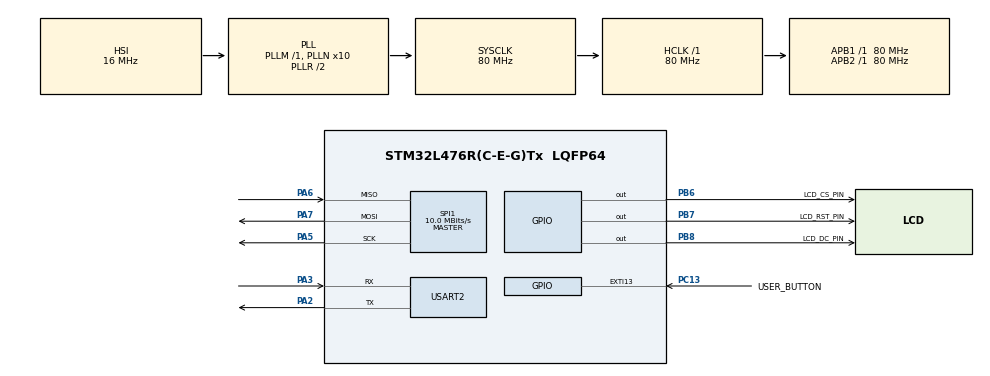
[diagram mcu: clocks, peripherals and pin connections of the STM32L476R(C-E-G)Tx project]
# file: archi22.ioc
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Dma.Request0=SPI1_RX
Dma.SPI1_RX.0.Direction=DMA_PERIPH_TO_MEMORY
Dma.SPI1_RX.0.Instance=DMA1_Channel2
Dma.SPI1_RX.0.MemDataAlignment=DMA_MDATAALIGN_BYTE
Dma.SPI1_RX.0.MemInc=DMA_MINC_ENABLE
Dma.SPI1_RX.0.Mode=DMA_NORMAL
Dma.SPI1_RX.0.PeriphDataAlignment=DMA_PDATAALIGN_BYTE
Dma.SPI1_RX.0.PeriphInc=DMA_PINC_DISABLE
Dma.SPI1_RX.0.Priority=DMA_PRIORITY_LOW
Mcu.Family=STM32L4
Mcu.Name=STM32L476R(C-E-G)Tx
Mcu.Package=LQFP64
NVIC.DMA1_Channel2_IRQn=true\:0\:0\:false\:false\:true\:false\:true\:true
NVIC.EXTI15_10_IRQn=true\:0\:0\:false\:false\:true\:true\:true\:true
NVIC.PriorityGroup=NVIC_PRIORITYGROUP_4
NVIC.USART2_IRQn=true\:0\:0\:false\:false\:true\:true\:true\:true
PA2.Mode=Asynchronous
PA2.Signal=USART2_TX
PA3.Mode=Asynchronous
PA3.Signal=USART2_RX
PA5.Mode=Full_Duplex_Master
PA5.Signal=SPI1_SCK
PA6.Mode=Full_Duplex_Master
PA6.Signal=SPI1_MISO
PA7.Mode=Full_Duplex_Master
PA7.Signal=SPI1_MOSI
PB6.GPIO_Label=LCD_CS_PIN
PB6.Signal=GPIO_Output
PB7.GPIO_Label=LCD_RST_PIN
PB7.Signal=GPIO_Output
PB8.GPIO_Label=LCD_DC_PIN
PB8.Signal=GPIO_Output
PC13.GPIO_Label=USER_BUTTON
PC13.GPIO_ModeDefaultEXTI=GPIO_MODE_IT_FALLING
PC13.Signal=GPXTI13
ProjectManager.HeapSize=0x200
ProjectManager.StackSize=0x400
ProjectManager.TargetToolchain=STM32CubeIDE
RCC.ADCFreq_Value=64000000
RCC.AHBFreq_Value=80000000
RCC.APB1Freq_Value=80000000
RCC.APB1TimFreq_Value=80000000
RCC.APB2Freq_Value=80000000
RCC.APB2TimFreq_Value=80000000
RCC.CortexFreq_Value=80000000
RCC.HCLKFreq_Value=80000000
RCC.HSE_VALUE=8000000
RCC.HSI_VALUE=16000000
RCC.MSI_VALUE=4000000
RCC.PLLN=10
RCC.PLLSourceVirtual=RCC_PLLSOURCE_HSI
RCC.PREFETCH_ENABLE=1
RCC.SYSCLKFreq_VALUE=80000000
RCC.SYSCLKSource=RCC_SYSCLKSOURCE_PLLCLK
RCC.USBFreq_Value=64000000
RCC.VCOOutputFreq_Value=160000000
SPI1.BaudRatePrescaler=SPI_BAUDRATEPRESCALER_8
SPI1.CalculateBaudRate=10.0 MBits/s
SPI1.DataSize=SPI_DATASIZE_8BIT
SPI1.Direction=SPI_DIRECTION_2LINES
SPI1.Mode=SPI_MODE_MASTER
SPI1.VirtualType=VM_MASTER
USART2.VirtualMode-Asynchronous=VM_ASYNC
board=NUCLEO-L476RG

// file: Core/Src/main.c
/* USER CODE BEGIN Header */
/**
  ******************************************************************************
  * @file           : main.c
  * @brief          : Main program body
  ******************************************************************************
  * @attention
  *
  * Copyright (c) 2024 STMicroelectronics.
  * All rights reserved.
  *
  * This software is licensed under terms that can be found in the LICENSE file
  * in the root directory of this software component.
  * If no LICENSE file comes with this software, it is provided AS-IS.
  ******************************************************************************
  */
/* USER CODE END Header */
#include "main.h"
#include "dma.h"
#include "spi.h"
#include "usart.h"
#include "gpio.h"

/* USER CODE BEGIN Includes */
#include "st7735.h"
#include "fonts.h"
#include "game.h"
#include "menu.h"
#include "high_scores.h"
/* USER CODE END Includes */

/* USER CODE BEGIN PD */
#define YMAX 5000
#define YMIN 0
/* USER CODE END PD */

void SystemClock_Config(void);

int main(void)
{

  /* MCU Configuration--------------------------------------------------------*/

  /* Reset of all peripherals, Initializes the Flash interface and the Systick. */
  HAL_Init();

  /* Configure the system clock */
  SystemClock_Config();

  /* Initialize all configured peripherals */
  MX_GPIO_Init();
  MX_DMA_Init();
  MX_SPI1_Init();
  MX_USART2_UART_Init();
  /* USER CODE BEGIN 2 */

  ST7735_Init();

  // RESET SCORES
//  uint64_t writeData[10] = {0, 0, 0, 0, 0, 0, 0, 0, 0, 0};
//  Flash_WriteArray(FLASH_USER_START_ADDR, writeData, 10);
  // END RESET SCORES

  int status = 0;
  while(1)
  {
	  if (status == 0)
	  {
		  status = menu();
	  }
	  else if (status == 1)
	  {
		  status = game();
	  }
	  else if (status == 2)
	  {
		  status = high_scores();
	  }
  }
  /* USER CODE END 2 */

}

void SystemClock_Config(void)
{
  RCC_OscInitTypeDef RCC_OscInitStruct = {0};
  RCC_ClkInitTypeDef RCC_ClkInitStruct = {0};

  /** Configure the main internal regulator output voltage
  */
  if (HAL_PWREx_ControlVoltageScaling(PWR_REGULATOR_VOLTAGE_SCALE1) != HAL_OK)
  {
    Error_Handler();
  }

  /** Initializes the RCC Oscillators according to the specified parameters
  * in the RCC_OscInitTypeDef structure.
  */
  RCC_OscInitStruct.OscillatorType = RCC_OSCILLATORTYPE_HSI;
  RCC_OscInitStruct.HSIState = RCC_HSI_ON;
  RCC_OscInitStruct.HSICalibrationValue = RCC_HSICALIBRATION_DEFAULT;
  RCC_OscInitStruct.PLL.PLLState = RCC_PLL_ON;
  RCC_OscInitStruct.PLL.PLLSource = RCC_PLLSOURCE_HSI;
  RCC_OscInitStruct.PLL.PLLM = 1;
  RCC_OscInitStruct.PLL.PLLN = 10;
  RCC_OscInitStruct.PLL.PLLP = RCC_PLLP_DIV7;
  RCC_OscInitStruct.PLL.PLLQ = RCC_PLLQ_DIV2;
  RCC_OscInitStruct.PLL.PLLR = RCC_PLLR_DIV2;
  if (HAL_RCC_OscConfig(&RCC_OscInitStruct) != HAL_OK)
  {
    Error_Handler();
  }

  /** Initializes the CPU, AHB and APB buses clocks
  */
  RCC_ClkInitStruct.ClockType = RCC_CLOCKTYPE_HCLK|RCC_CLOCKTYPE_SYSCLK
                              |RCC_CLOCKTYPE_PCLK1|RCC_CLOCKTYPE_PCLK2;
  RCC_ClkInitStruct.SYSCLKSource = RCC_SYSCLKSOURCE_PLLCLK;
  RCC_ClkInitStruct.AHBCLKDivider = RCC_SYSCLK_DIV1;
  RCC_ClkInitStruct.APB1CLKDivider = RCC_HCLK_DIV1;
  RCC_ClkInitStruct.APB2CLKDivider = RCC_HCLK_DIV1;

  if (HAL_RCC_ClockConfig(&RCC_ClkInitStruct, FLASH_LATENCY_4) != HAL_OK)
  {
    Error_Handler();
  }
}

void Error_Handler(void)
{
  __disable_irq();
  while (1)
  {
  }
}
